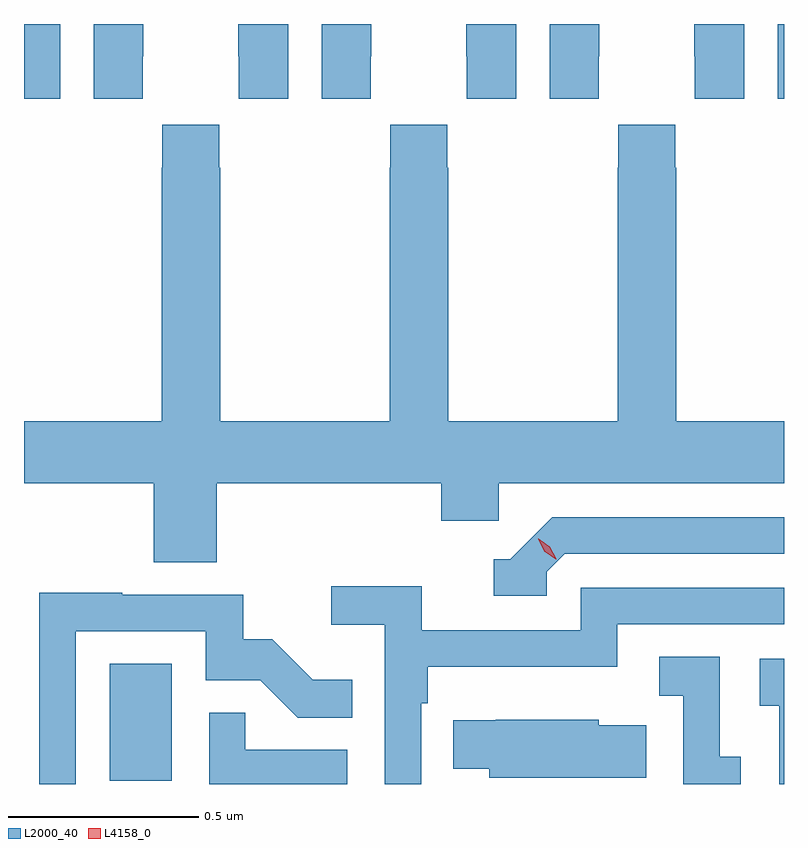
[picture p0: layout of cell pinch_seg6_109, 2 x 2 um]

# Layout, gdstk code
import gdstk
lib = gdstk.Library(unit=1e-6, precision=1e-09)
def R(c, l, rs):  # rectangles x0, y0, x1, y1
    for r in rs: c.add(gdstk.rectangle(r[:2], r[2:], *l))
def P(c, l, *ps):  # polygons
    for p in ps: c.add(gdstk.Polygon(p, *l))
L2000_40 = (2000, 40)
L4158_0 = (4158, 0)

pinch_seg6_109 = lib.new_cell('pinch_seg6_109')
R(pinch_seg6_109, L2000_40, [(911.906,918.582,912.07,918.889), (911.681,920.376,911.776,920.573), (913.664,920.376,913.681,920.573)])
P(pinch_seg6_109, L2000_40, [(911.994,920.488),(911.995,920.488),(911.995,920.573),(911.864,920.573),(911.864,920.376),(911.994,920.376)],
  [(912.376,920.573),(912.245,920.573),(912.245,920.488),(912.246,920.488),(912.246,920.376),(912.376,920.376)],
  [(912.594,920.488),(912.595,920.488),(912.595,920.573),(912.464,920.573),(912.464,920.376),(912.594,920.376)],
  [(912.976,920.573),(912.845,920.573),(912.845,920.488),(912.846,920.488),(912.846,920.376),(912.976,920.376)],
  [(913.194,920.488),(913.195,920.488),(913.195,920.573),(913.064,920.573),(913.064,920.376),(913.194,920.376)],
  [(913.576,920.573),(913.445,920.573),(913.445,920.488),(913.446,920.488),(913.446,920.376),(913.576,920.376)],
  [(912.188,919.364),(912.779,919.364),(912.779,919.266),(912.93,919.266),(912.93,919.364),(913.681,919.364),(913.681,919.528),(913.398,919.528),(913.398,920.195),(913.395,920.195),(913.395,920.308),(913.245,920.308),(913.245,920.195),(913.243,920.195),(913.243,919.528),(912.798,919.528),(912.798,920.195),(912.795,920.195),(912.795,920.308),(912.645,920.308),(912.645,920.195),(912.643,920.195),(912.643,919.528),(912.198,919.528),(912.198,920.195),(912.195,920.195),(912.195,920.308),(912.045,920.308),(912.045,920.195),(912.043,920.195),(912.043,919.528),(911.681,919.528),(911.681,919.364),(912.023,919.364),(912.023,919.156),(912.188,919.156)],
  [(913.056,919.131),(913.104,919.179),(913.681,919.179),(913.681,919.275),(913.071,919.275),(912.96,919.164),(912.917,919.164),(912.917,919.068),(913.056,919.068)],
  [(912.726,918.785),(912.743,918.785),(912.743,918.881),(913.242,918.881),(913.242,918.993),(913.681,918.993),(913.681,919.089),(913.146,919.089),(913.146,918.978),(912.728,918.978),(912.728,919.094),(912.489,919.094),(912.489,918.992),(912.63,918.992),(912.63,918.573),(912.726,918.573)],
  [(911.817,918.975),(912.159,918.975),(912.159,918.846),(912.303,918.846),(912.401,918.748),(912.545,918.748),(912.545,918.847),(912.441,918.847),(912.334,918.954),(912.258,918.954),(912.258,919.071),(911.939,919.071),(911.939,919.076),(911.721,919.076),(911.721,918.573),(911.817,918.573)],
  [(913.567,918.645),(913.512,918.645),(913.512,918.908),(913.353,918.908),(913.353,918.805),(913.416,918.805),(913.416,918.573),(913.567,918.573)],
  [(913.681,918.903),(913.617,918.903),(913.617,918.779),(913.668,918.779),(913.668,918.573),(913.681,918.573)],
  [(912.532,918.663),(912.263,918.663),(912.263,918.761),(912.168,918.761),(912.168,918.573),(912.532,918.573)],
  [(913.319,918.727),(913.194,918.727),(913.194,918.742),(912.922,918.742),(912.922,918.741),(912.811,918.741),(912.811,918.613),(912.905,918.613),(912.905,918.59),(913.319,918.59)])
P(pinch_seg6_109, L4158_0, [(913.08,919.165),(913.05,919.185),(913.034,919.218),(913.034,919.219),(913.035,919.219),(913.065,919.198),(913.081,919.166),(913.081,919.165)])

lib.write_gds('pinch_seg6_109.gds')
